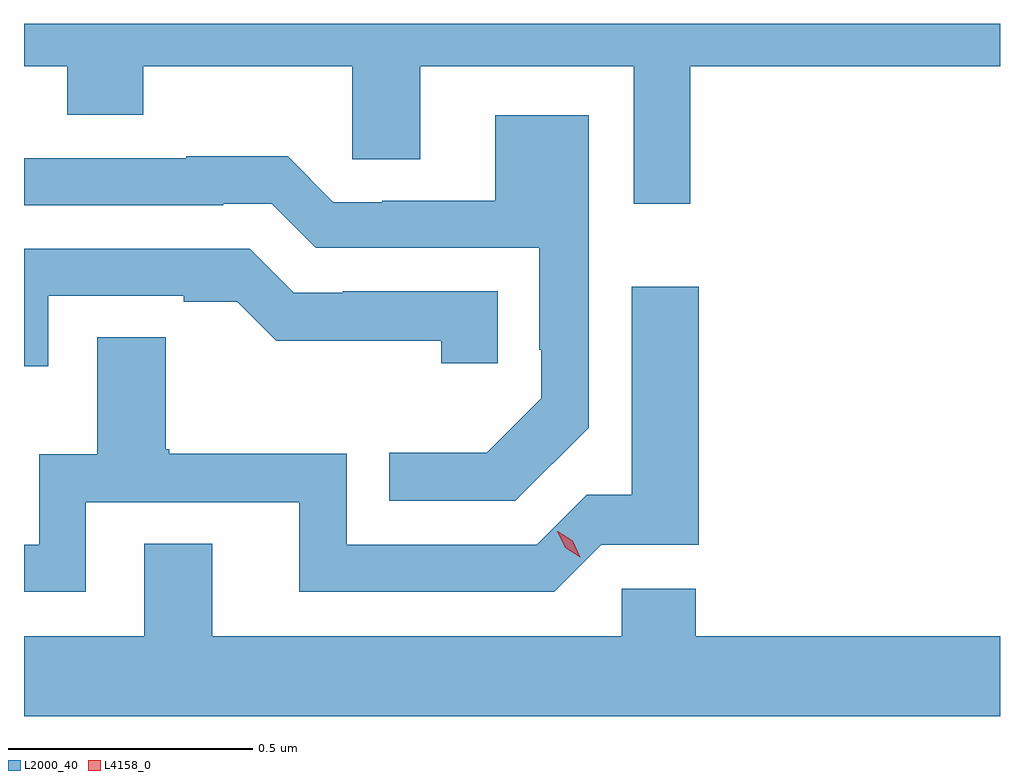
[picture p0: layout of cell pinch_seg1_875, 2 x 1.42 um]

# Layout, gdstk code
import gdstk
lib = gdstk.Library(unit=1e-6, precision=1e-09)
def P(c, l, *ps):  # polygons
    for p in ps: c.add(gdstk.Polygon(p, *l))
L2000_40 = (2000, 40)
L4158_0 = (4158, 0)

pinch_seg1_875 = lib.new_cell('pinch_seg1_875')
P(pinch_seg1_875, L2000_40, [(435.2,526.424),(435.835,526.424),(435.835,526.512),(433.835,526.512),(433.835,526.424),(433.924,526.424),(433.924,526.325),(434.079,526.325),(434.079,526.424),(434.508,526.424),(434.508,526.234),(434.647,526.234),(434.647,526.424),(435.084,526.424),(435.084,526.143),(435.2,526.143)],
  [(434.992,525.684),(434.992,526.324),(434.801,526.324),(434.801,526.149),(434.569,526.149),(434.569,526.146),(434.469,526.146),(434.375,526.24),(434.167,526.24),(434.167,526.236),(433.835,526.236),(433.835,526.14),(434.243,526.14),(434.243,526.143),(434.343,526.143),(434.433,526.053),(434.891,526.053),(434.891,525.844),(434.895,525.844),(434.895,525.744),(434.783,525.632),(434.583,525.632),(434.583,525.534),(434.842,525.534)],
  [(433.885,525.954),(434.162,525.954),(434.162,525.942),(434.272,525.942),(434.352,525.862),(434.69,525.862),(434.69,525.816),(434.806,525.816),(434.806,525.963),(434.488,525.963),(434.488,525.96),(434.388,525.96),(434.298,526.05),(433.835,526.05),(433.835,525.81),(433.885,525.81)],
  [(433.962,525.531),(434.399,525.531),(434.399,525.348),(434.922,525.348),(435.018,525.444),(435.218,525.444),(435.218,525.973),(435.08,525.973),(435.08,525.546),(434.988,525.546),(434.886,525.444),(434.496,525.444),(434.496,525.63),(434.133,525.63),(434.133,525.64),(434.125,525.64),(434.125,525.869),(433.985,525.869),(433.985,525.629),(433.866,525.629),(433.866,525.444),(433.835,525.444),(433.835,525.348),(433.962,525.348)],
  [(435.835,525.256),(435.212,525.256),(435.212,525.354),(435.06,525.354),(435.06,525.256),(434.221,525.256),(434.221,525.446),(434.081,525.446),(434.081,525.256),(433.835,525.256),(433.835,525.092),(435.835,525.092)])
P(pinch_seg1_875, L4158_0, [(434.975,525.418),(434.944,525.438),(434.928,525.472),(434.928,525.472),(434.929,525.472),(434.959,525.452),(434.975,525.418),(434.975,525.418)])

lib.write_gds('pinch_seg1_875.gds')
